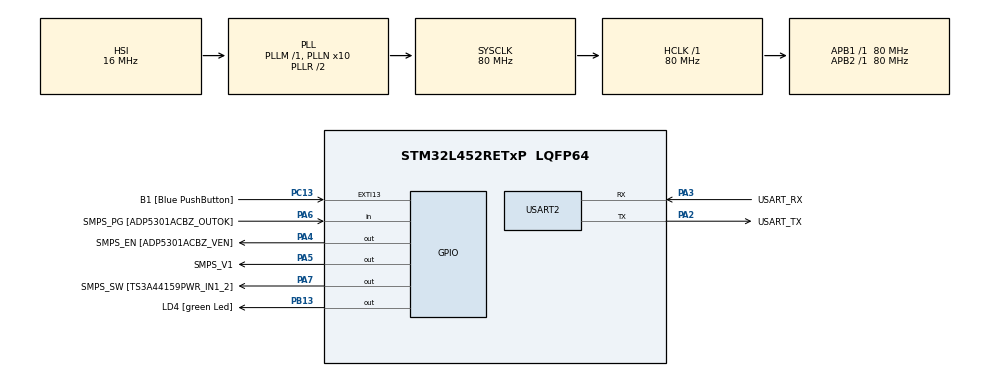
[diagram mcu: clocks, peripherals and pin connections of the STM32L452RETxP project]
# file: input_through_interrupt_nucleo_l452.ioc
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Mcu.Family=STM32L4
Mcu.Name=STM32L452RETxP
Mcu.Package=LQFP64
NVIC.EXTI15_10_IRQn=true\:0\:0\:false\:false\:true\:true\:true
NVIC.PriorityGroup=NVIC_PRIORITYGROUP_4
PA13\ (JTMS/SWDIO).GPIO_Label=TMS
PA13\ (JTMS/SWDIO).Mode=Serial_Wire
PA13\ (JTMS/SWDIO).Signal=SYS_JTMS-SWDIO
PA14\ (JTCK/SWCLK).GPIO_Label=TCK
PA14\ (JTCK/SWCLK).Mode=Serial_Wire
PA14\ (JTCK/SWCLK).Signal=SYS_JTCK-SWCLK
PA2.GPIO_Label=USART_TX
PA2.GPIO_Mode=GPIO_MODE_AF_PP
PA2.GPIO_PuPd=GPIO_NOPULL
PA2.GPIO_Speed=GPIO_SPEED_FREQ_VERY_HIGH
PA2.Mode=Asynchronous
PA2.Signal=USART2_TX
PA3.GPIO_Label=USART_RX
PA3.GPIO_Mode=GPIO_MODE_AF_PP
PA3.GPIO_PuPd=GPIO_NOPULL
PA3.GPIO_Speed=GPIO_SPEED_FREQ_VERY_HIGH
PA3.Mode=Asynchronous
PA3.Signal=USART2_RX
PA4.GPIO_Label=SMPS_EN [ADP5301ACBZ_VEN]
PA4.Signal=GPIO_Output
PA5.GPIO_Label=SMPS_V1
PA5.GPIO_ModeDefaultOutputPP=GPIO_MODE_OUTPUT_PP
PA5.GPIO_PuPd=GPIO_NOPULL
PA5.GPIO_Speed=GPIO_SPEED_FREQ_LOW
PA5.Signal=GPIO_Output
PA6.GPIO_Label=SMPS_PG [ADP5301ACBZ_OUTOK]
PA6.GPIO_PuPd=GPIO_PULLUP
PA6.Signal=GPIO_Input
PA7.GPIO_Label=SMPS_SW [TS3A44159PWR_IN1_2]
PA7.Signal=GPIO_Output
PB13.GPIO_Label=LD4 [green Led]
PB13.Signal=GPIO_Output
PB3\ (JTDO/TRACESWO).GPIO_Label=SWO
PB3\ (JTDO/TRACESWO).Signal=SYS_JTDO-SWO
PC13.GPIO_Label=B1 [Blue PushButton]
PC13.GPIO_ModeDefaultEXTI=GPIO_MODE_IT_RISING_FALLING
PC13.GPIO_PuPd=GPIO_NOPULL
PC13.Signal=GPXTI13
PC14-OSC32_IN\ (PC14).Mode=LSE-External-Oscillator
PC14-OSC32_IN\ (PC14).Signal=RCC_OSC32_IN
PC15-OSC32_OUT\ (PC15).Mode=LSE-External-Oscillator
PC15-OSC32_OUT\ (PC15).Signal=RCC_OSC32_OUT
PH0-OSC_IN\ (PH0).GPIO_Label=MCO
PH0-OSC_IN\ (PH0).Mode=HSE-External-Clock-Source
PH0-OSC_IN\ (PH0).Signal=RCC_OSC_IN
PH1-OSC_OUT\ (PH1).Signal=RCC_OSC_OUT
ProjectManager.HeapSize=0x200
ProjectManager.StackSize=0x400
ProjectManager.TargetToolchain=STM32CubeIDE
RCC.ADCFreq_Value=64000000
RCC.AHBFreq_Value=80000000
RCC.APB1Freq_Value=80000000
RCC.APB1TimFreq_Value=80000000
RCC.APB2Freq_Value=80000000
RCC.APB2TimFreq_Value=80000000
RCC.CortexFreq_Value=80000000
RCC.HCLKFreq_Value=80000000
RCC.HSE_VALUE=8000000
RCC.HSI48_VALUE=48000000
RCC.HSI_VALUE=16000000
RCC.MSI_VALUE=4000000
RCC.PLLN=10
RCC.PLLSourceVirtual=RCC_PLLSOURCE_HSI
RCC.PREFETCH_ENABLE=1
RCC.SYSCLKFreq_VALUE=80000000
RCC.SYSCLKSource=RCC_SYSCLKSOURCE_PLLCLK
RCC.USBFreq_Value=64000000
RCC.VCOOutputFreq_Value=160000000
USART2.VirtualMode-Asynchronous=VM_ASYNC
board=NUCLEO-L452RE-P

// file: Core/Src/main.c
/* USER CODE BEGIN Header */
/**
  ******************************************************************************
  * @file           : main.c
  * @brief          : Main program body
  ******************************************************************************
  * @attention
  *
  * Copyright (c) 2021 STMicroelectronics.
  * All rights reserved.
  *
  * This software is licensed under terms that can be found in the LICENSE file
  * in the root directory of this software component.
  * If no LICENSE file comes with this software, it is provided AS-IS.
  *
  ******************************************************************************
  */
/* USER CODE END Header */
#include "main.h"

/* USER CODE BEGIN Includes */
#include "stm32l4xx_nucleo.h"
#include "systick_timer.h"
#include "button_interrupt.h"
/* USER CODE END Includes */

UART_HandleTypeDef huart2;

void SystemClock_Config(void);
static void MX_GPIO_Init(void);
static void MX_USART2_UART_Init(void);

/* USER CODE BEGIN 0 */
SYSTick_Timer_t  timer_1 , timer_2;
/* USER CODE END 0 */

int main(void)
{

  /* MCU Configuration--------------------------------------------------------*/

  /* Reset of all peripherals, Initializes the Flash interface and the Systick. */
  HAL_Init();

  /* Configure the system clock */
  SystemClock_Config();

  /* Initialize all configured peripherals */
  MX_GPIO_Init();
  MX_USART2_UART_Init();
  /* USER CODE BEGIN 2 */
  BSP_LED_Init(LED2);
  //BSP_PB_Init(BUTTON_USER, BUTTON_MODE_GPIO);
  user_button_state = BSP_PB_GetState(BUTTON_USER);
  start_systick_timer(&timer_1, 100);
  start_systick_timer(&timer_2, 100);
  /* USER CODE END 2 */

  /* Infinite loop */
  while (1)
  {

    /* USER CODE BEGIN 3 */
	if(0 == user_button_state)
	{ // BUTTON_USER pressed
	  if(Timer_Expired == get_systick_timer(&timer_1))
	  {
	    BSP_LED_Toggle(LED2);
	    start_systick_timer(&timer_1, 100);
	  }
	  start_systick_timer(&timer_2, 700);
	}
	else
	{ // BUTTON_USER released
	  if(Timer_Expired == get_systick_timer(&timer_2))
	  {
	    BSP_LED_Toggle(LED2);
	    start_systick_timer(&timer_2, 700);
	  }
	  start_systick_timer(&timer_1, 100);
    }
  }
  /* USER CODE END 3 */
}

void SystemClock_Config(void)
{
  RCC_OscInitTypeDef RCC_OscInitStruct = {0};
  RCC_ClkInitTypeDef RCC_ClkInitStruct = {0};

  /** Configure the main internal regulator output voltage
  */
  if (HAL_PWREx_ControlVoltageScaling(PWR_REGULATOR_VOLTAGE_SCALE1) != HAL_OK)
  {
    Error_Handler();
  }
  /** Initializes the RCC Oscillators according to the specified parameters
  * in the RCC_OscInitTypeDef structure.
  */
  RCC_OscInitStruct.OscillatorType = RCC_OSCILLATORTYPE_HSI;
  RCC_OscInitStruct.HSIState = RCC_HSI_ON;
  RCC_OscInitStruct.HSICalibrationValue = RCC_HSICALIBRATION_DEFAULT;
  RCC_OscInitStruct.PLL.PLLState = RCC_PLL_ON;
  RCC_OscInitStruct.PLL.PLLSource = RCC_PLLSOURCE_HSI;
  RCC_OscInitStruct.PLL.PLLM = 1;
  RCC_OscInitStruct.PLL.PLLN = 10;
  RCC_OscInitStruct.PLL.PLLP = RCC_PLLP_DIV7;
  RCC_OscInitStruct.PLL.PLLQ = RCC_PLLQ_DIV2;
  RCC_OscInitStruct.PLL.PLLR = RCC_PLLR_DIV2;
  if (HAL_RCC_OscConfig(&RCC_OscInitStruct) != HAL_OK)
  {
    Error_Handler();
  }
  /** Initializes the CPU, AHB and APB buses clocks
  */
  RCC_ClkInitStruct.ClockType = RCC_CLOCKTYPE_HCLK|RCC_CLOCKTYPE_SYSCLK
                              |RCC_CLOCKTYPE_PCLK1|RCC_CLOCKTYPE_PCLK2;
  RCC_ClkInitStruct.SYSCLKSource = RCC_SYSCLKSOURCE_PLLCLK;
  RCC_ClkInitStruct.AHBCLKDivider = RCC_SYSCLK_DIV1;
  RCC_ClkInitStruct.APB1CLKDivider = RCC_HCLK_DIV1;
  RCC_ClkInitStruct.APB2CLKDivider = RCC_HCLK_DIV1;

  if (HAL_RCC_ClockConfig(&RCC_ClkInitStruct, FLASH_LATENCY_4) != HAL_OK)
  {
    Error_Handler();
  }
}

static void MX_USART2_UART_Init(void)
{

  huart2.Instance = USART2;
  huart2.Init.BaudRate = 115200;
  huart2.Init.WordLength = UART_WORDLENGTH_8B;
  huart2.Init.StopBits = UART_STOPBITS_1;
  huart2.Init.Parity = UART_PARITY_NONE;
  huart2.Init.Mode = UART_MODE_TX_RX;
  huart2.Init.HwFlowCtl = UART_HWCONTROL_NONE;
  huart2.Init.OverSampling = UART_OVERSAMPLING_16;
  huart2.Init.OneBitSampling = UART_ONE_BIT_SAMPLE_DISABLE;
  huart2.AdvancedInit.AdvFeatureInit = UART_ADVFEATURE_NO_INIT;
  if (HAL_UART_Init(&huart2) != HAL_OK)
  {
    Error_Handler();
  }

}

static void MX_GPIO_Init(void)
{
  GPIO_InitTypeDef GPIO_InitStruct = {0};

  /* GPIO Ports Clock Enable */
  __HAL_RCC_GPIOC_CLK_ENABLE();
  __HAL_RCC_GPIOH_CLK_ENABLE();
  __HAL_RCC_GPIOA_CLK_ENABLE();
  __HAL_RCC_GPIOB_CLK_ENABLE();

  /*Configure GPIO pin Output Level */
  HAL_GPIO_WritePin(GPIOA, SMPS_EN_Pin|SMPS_V1_Pin|SMPS_SW_Pin, GPIO_PIN_RESET);

  /*Configure GPIO pin Output Level */
  HAL_GPIO_WritePin(LD4_GPIO_Port, LD4_Pin, GPIO_PIN_RESET);

  /*Configure GPIO pin : B1_Pin */
  GPIO_InitStruct.Pin = B1_Pin;
  GPIO_InitStruct.Mode = GPIO_MODE_IT_RISING_FALLING;
  GPIO_InitStruct.Pull = GPIO_NOPULL;
  HAL_GPIO_Init(B1_GPIO_Port, &GPIO_InitStruct);

  /*Configure GPIO pins : SMPS_EN_Pin SMPS_V1_Pin SMPS_SW_Pin */
  GPIO_InitStruct.Pin = SMPS_EN_Pin|SMPS_V1_Pin|SMPS_SW_Pin;
  GPIO_InitStruct.Mode = GPIO_MODE_OUTPUT_PP;
  GPIO_InitStruct.Pull = GPIO_NOPULL;
  GPIO_InitStruct.Speed = GPIO_SPEED_FREQ_LOW;
  HAL_GPIO_Init(GPIOA, &GPIO_InitStruct);

  /*Configure GPIO pin : SMPS_PG_Pin */
  GPIO_InitStruct.Pin = SMPS_PG_Pin;
  GPIO_InitStruct.Mode = GPIO_MODE_INPUT;
  GPIO_InitStruct.Pull = GPIO_PULLUP;
  HAL_GPIO_Init(SMPS_PG_GPIO_Port, &GPIO_InitStruct);

  /*Configure GPIO pin : LD4_Pin */
  GPIO_InitStruct.Pin = LD4_Pin;
  GPIO_InitStruct.Mode = GPIO_MODE_OUTPUT_PP;
  GPIO_InitStruct.Pull = GPIO_NOPULL;
  GPIO_InitStruct.Speed = GPIO_SPEED_FREQ_LOW;
  HAL_GPIO_Init(LD4_GPIO_Port, &GPIO_InitStruct);

  /* EXTI interrupt init*/
  HAL_NVIC_SetPriority(EXTI15_10_IRQn, 0, 0);
  HAL_NVIC_EnableIRQ(EXTI15_10_IRQn);

}

void Error_Handler(void)
{
  __disable_irq();
  while (1)
  {
  }
}
